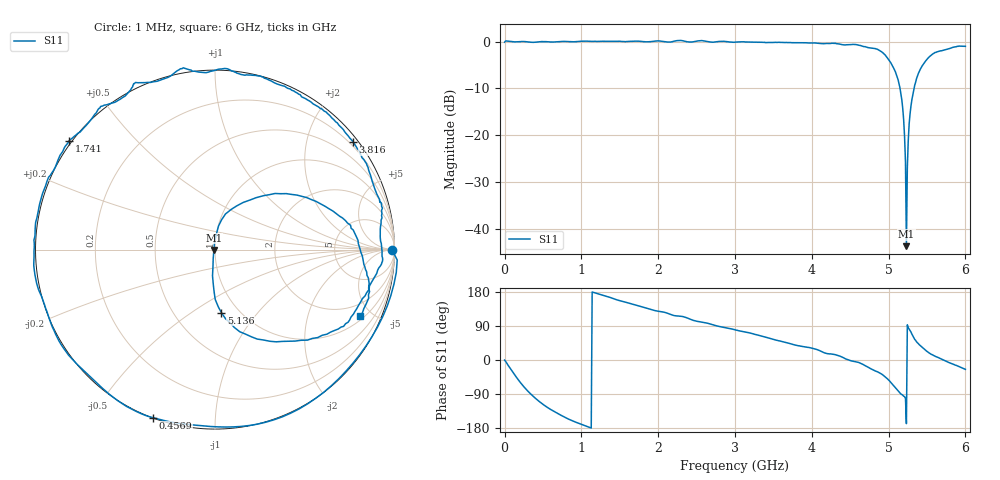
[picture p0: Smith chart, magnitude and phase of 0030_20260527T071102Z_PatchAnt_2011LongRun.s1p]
# Hz S RI R 50
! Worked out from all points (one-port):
!   501 points, 1 MHz to 6 GHz, reference 50 ohm
!   lowest |S11| = -43.8 dB at 5.232 GHz (marker M1), VSWR 1.01, Z = 49.4 - j0.134 ohm
!   |S11| at or under -10 dB: 5.149 GHz to 5.332 GHz (182.6 MHz wide, 3.48 % of centre)
!   S11 on the Smith chart (normalised r, x): 1 MHz: open; 456.9 MHz: 0.00, -0.70; 1.741 GHz: -0.01, +0.33; 3.816 GHz: 0.13, +2.90; 5.136 GHz: 0.83, -0.67; 6 GHz: 1.17, -4.26
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1000000  0.9881 -0.00368
8.4986e7  0.9061 -0.4307
2.28962e8  0.4211 -0.9116
3.12948e8  0.1022 -0.9878
4.56924e8  -0.3467 -0.9366
7.56874e8  -0.8561 -0.5309
1.056824e9  -1.008 -0.1073
1.50075e9  -0.9271 0.4034
1.74071e9  -0.8124 0.6068
2.256624e9  -0.4536 0.9239
3.0005e9  0.1755 0.9736
3.756374e9  0.736 0.6402
3.816364e9  0.768 0.5987
4.308282e9  0.9329 0.2314
4.50025e9  0.9305 -0.0209
4.86019e9  0.7026 -0.4315
5.028162e9  0.3071 -0.5109
5.136144e9  0.0357 -0.3516
5.184136e9  -0.00952 -0.1937
5.196134e9  -0.0139 -0.1457
5.208132e9  -0.0113 -0.0959
5.232128e9  -0.00633 -0.00135
5.256124e9  0.00786 0.0868
5.268122e9  0.0196 0.1313
5.292118e9  0.0583 0.1984
5.412098e9  0.3973 0.3118
5.628062e9  0.7699 0.1096
6e9  0.8096 -0.3727
